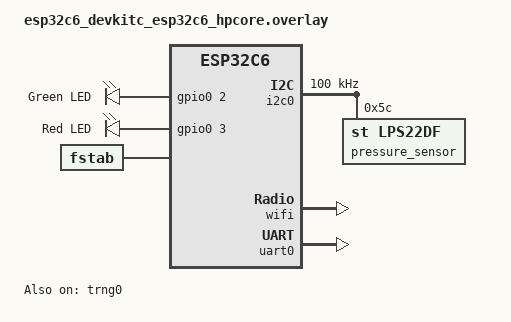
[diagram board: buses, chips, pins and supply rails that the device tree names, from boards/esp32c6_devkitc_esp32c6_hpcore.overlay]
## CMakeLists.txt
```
cmake_minimum_required(VERSION 3.20.0)

set(BOARD esp32c6_devkitc)

find_package(Zephyr REQUIRED HINTS $ENV{ZEPHYR_BASE})

project(rd_template)
target_sources(app PRIVATE src/main.c)
target_sources(app PRIVATE src/app_rpc.c)
target_sources(app PRIVATE src/app_settings.c)
target_sources(app PRIVATE src/app_state.c)
target_sources(app PRIVATE src/app_sensors.c)

add_custom_command(
  OUTPUT ${ZEPHYR_BINARY_DIR}/lfs.hex
  COMMAND
    ${PYTHON_EXECUTABLE} ${CMAKE_CURRENT_SOURCE_DIR}/generate-lfs-image.py
    --build-dir ${APPLICATION_BINARY_DIR})

add_custom_target(lfs ALL DEPENDS ${ZEPHYR_BINARY_DIR}/lfs.hex)
```

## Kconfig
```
# Copyright (c) 2022-2023 Golioth, Inc.
# SPDX-License-Identifier: MIT

mainmenu "Golioth application options"

if DNS_RESOLVER

config DNS_SERVER_IP_ADDRESSES
	default y

config DNS_SERVER1
	default "1.1.1.1"

endif # DNS_RESOLVER

source "Kconfig.zephyr"
```

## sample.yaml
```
# Copyright (c) 2022-2023 Golioth, Inc.
# SPDX-License-Identifier: MIT

sample:
  description: Golioth Reference Design Template
  name: rd_template
common:
  harness: net
  platform_allow: >
    nrf9160dk_nrf9160_ns
  tags: golioth
```

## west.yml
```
# Copyright (c) 2022-2023 Golioth, Inc.
# SPDX-License-Identifier: MIT

manifest:
  version: 1.0

  projects:
    - name: golioth
      path: modules/lib/golioth-firmware-sdk
      revision: v0.21.1
      url: https://github.com/golioth/golioth-firmware-sdk.git
      west-commands: scripts/west-commands.yml
      submodules: true
      import:
        file: west-zephyr.yml
        path-prefix: deps
        name-allowlist:
          - nrf
          - zephyr
          - cmsis_6
          - hal_nordic
          - hal_espressif
          - hal_st
          - mbedtls
          - mbedtls-nrf
          - mcuboot
          - net-tools
          - nrfxlib
          - oberon-psa-crypto
          - qcbor
          - segger
          - tfm-mcuboot
          - tinycrypt
          - trusted-firmware-m
          - zcbor
          - littlefs

    - name: zephyr-network-info
      path: deps/modules/lib/network-info
      revision: v1.2.1
      url: https://github.com/golioth/zephyr-network-info

  self:
    path: app
```

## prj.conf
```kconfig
# Copyright (c) 2022-2023 Golioth, Inc.
# SPDX-License-Identifier: MIT

# Enable Golioth Firmware SDK
CONFIG_GOLIOTH_FIRMWARE_SDK=y

# Golioth services used in this app
CONFIG_GOLIOTH_FW_UPDATE=y
CONFIG_GOLIOTH_LIGHTDB_STATE=y
CONFIG_LOG_BACKEND_GOLIOTH=y
CONFIG_GOLIOTH_RPC=y
CONFIG_GOLIOTH_SETTINGS=y
CONFIG_GOLIOTH_STREAM=y

# Enable common sample library
# CONFIG_GOLIOTH_SAMPLE_COMMON=y

# Enable the LittleFS file system
CONFIG_FILE_SYSTEM=y

# init before wifi credentials
CONFIG_FILE_SYSTEM_INIT_PRIORITY=89
CONFIG_FILE_SYSTEM_LITTLEFS=y
CONFIG_FILE_SYSTEM_SHELL=y
CONFIG_HEAP_MEM_POOL_SIZE=4096

# Add 256 bytes to accommodate upload command (lfs_stat overflows)
CONFIG_SYSTEM_WORKQUEUE_STACK_SIZE=2304

# Enable mcumgr
CONFIG_ZCBOR=y
CONFIG_MCUMGR=y
CONFIG_BOOTLOADER_MCUBOOT=y

# Enable console with mcumgr pass through
CONFIG_CONSOLE=y
CONFIG_UART_CONSOLE=y
CONFIG_UART_CONSOLE_MCUMGR=y

# Configure Golioth SDK dependencies
CONFIG_ZVFS_EVENTFD_MAX=14
CONFIG_ZVFS_OPEN_MAX=23
CONFIG_LOG_PROCESS_THREAD_STACK_SIZE=1536
CONFIG_MBEDTLS_ENABLE_HEAP=y
CONFIG_MBEDTLS_HEAP_SIZE=10240
CONFIG_NETWORKING=y
CONFIG_NET_IPV4=y
CONFIG_COAP_EXTENDED_OPTIONS_LEN=y
CONFIG_COAP_EXTENDED_OPTIONS_LEN_VALUE=39

# Enable the shell mcumgr transport. This allows SMP messages to pass
# through the shell to the mgmt subsystem.
CONFIG_SHELL=y
CONFIG_SHELL_BACKEND_SERIAL=y
CONFIG_BASE64=y
CONFIG_MCUMGR_TRANSPORT_SHELL=y

# Enable file system commands
CONFIG_MCUMGR_GRP_FS=y

# Enable shell commands over SMP
CONFIG_SHELL_BACKEND_DUMMY=y
CONFIG_MCUMGR_GRP_SHELL=y

# Some mgmt command handlers require a large stack.
CONFIG_MAIN_STACK_SIZE=2048

# Enable certificate authentication.
CONFIG_GOLIOTH_AUTH_METHOD_CERT=y

# Enable `log halt` and `log go` commands
CONFIG_LOG_CMDS=y

# If runtime-settings are enabled, use the file storage-backend
CONFIG_SETTINGS_FILE=y
CONFIG_SETTINGS_FILE_PATH="/lfs1/settings"

# Application
CONFIG_MAIN_STACK_SIZE=2048
CONFIG_NET_LOG=y
CONFIG_NET_SHELL=y
CONFIG_REBOOT=y
CONFIG_WIFI_CREDENTIALS=y
# CONFIG_WIFI_CREDENTIALS_BACKEND_PSA=y
CONFIG_WIFI_CREDENTIALS_MAX_ENTRIES=2

# Flash memory (etc.) for firmware upgrade
CONFIG_FLASH=y
CONFIG_FLASH_MAP=y
CONFIG_NVS=y
CONFIG_STREAM_FLASH=y
CONFIG_IMG_MANAGER=y
CONFIG_IMG_ERASE_PROGRESSIVELY=y
CONFIG_REBOOT=y

# The rest of the runtime credentials config
CONFIG_SETTINGS=y
CONFIG_SETTINGS_RUNTIME=y
# CONFIG_GOLIOTH_SAMPLE_SETTINGS_AUTOLOAD=y
# CONFIG_GOLIOTH_SAMPLE_SETTINGS_SHELL=y

# Misc.
CONFIG_JSON_LIBRARY=y

# Longer response length needed for network info
CONFIG_GOLIOTH_RPC_MAX_RESPONSE_LEN=512
CONFIG_GPIO=y
CONFIG_I2C=y
CONFIG_SENSOR=y

# Enable floating point support in printf
CONFIG_CBPRINTF_FP_SUPPORT=y

# ESP32C6-specific configurations
CONFIG_WIFI=y
CONFIG_HEAP_MEM_POOL_SIZE=49152
# CONFIG_ESP_HEAP_MEM_POOL_REGION_1_SIZE=32768

CONFIG_NET_L2_ETHERNET=y

CONFIG_NEWLIB_LIBC=y

CONFIG_NET_DHCPV4=y

# CONFIG_ESP32_WIFI_STA_AUTO_DHCPV4=y

CONFIG_NET_L2_WIFI_SHELL=y

# CONFIG_GOLIOTH_SAMPLE_WIFI=y

# https://github.com/zephyrproject-rtos/zephyr/issues/63823
# CONFIG_POSIX_FS=n
# CONFIG_ENTROPY_GENERATOR=y
```

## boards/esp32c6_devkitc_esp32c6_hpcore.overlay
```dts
/*
 * Copyright (c) 2025
 * SPDX-License-Identifier: MIT
 */
 
#include <espressif/esp32c6/esp32c6_wroom_n4.dtsi>
#include <espressif/partitions_0x0_default_4M.dtsi>


/ {
	aliases {
		led0 = &green_led;
		led1 = &red_led;
	};

	leds {
		compatible = "gpio-leds";
		green_led: led_0 {
			gpios = <&gpio0 2 GPIO_ACTIVE_HIGH>;
			label = "Green LED";
		};
		red_led: led_1 {
			gpios = <&gpio0 3 GPIO_ACTIVE_HIGH>;
			label = "Red LED";
		};
	};

	fstab {
		compatible = "zephyr,fstab";

		lfs1: lfs1 {
			compatible = "zephyr,fstab,littlefs";
			mount-point = "/lfs1";
			partition = <&storage_partition>;
			automount;
			read-size = <16>;
			prog-size = <16>;
			cache-size = <64>;
			lookahead-size = <32>;
			block-cycles = <512>;
		};
	};
};

// used this as a reference: https://docs.zephyrproject.org/latest/build/dts/api/bindings/pinctrl/espressif%2Cesp32-pinctrl.html
&pinctrl {
	i2c0_custom: i2c0_custom {
		group1 {
			pinmux = <I2C0_SDA_GPIO6>, // as defined here https://github.com/zephyrproject-rtos/zephyr/blob/main/include/zephyr/dt-bindings/pinctrl/esp32c6-pinctrl.h
				 <I2C0_SCL_GPIO7>;			
			drive-open-drain;
			output-enable;	
		};
	};
};

&i2c0 {
	status = "okay";
	pinctrl-0 = <&i2c0_custom>;	
	clock-frequency = <100000>; /* 100kHz */

	pressure_sensor: lps22df@5c {
		compatible = "st,lps22df";
		reg = <0x5c>;
		status = "okay";
	};
};

&wifi {
	status = "okay";
};

&uart0 {
	status = "okay";
};

&trng0 {
	status = "okay";
};
```

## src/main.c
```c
/*
 * Copyright (c) 2022-2023 Golioth, Inc.
 *
 * SPDX-License-Identifier: MIT
 */

#include <zephyr/logging/log.h>
LOG_MODULE_REGISTER(golioth_rd_template, LOG_LEVEL_DBG);

#include <stdio.h>
#include <app_version.h>
#include "app_rpc.h"
#include "app_settings.h"
#include "app_state.h"
#include "app_sensors.h"
#include <golioth/client.h>
#include <golioth/fw_update.h>
// #include <samples/common/net_connect.h>
// #include <samples/common/sample_credentials.h>
#include <zephyr/kernel.h>
#include <zephyr/drivers/gpio.h>
#include <zephyr/devicetree.h>
#include <zephyr/device.h>
#include <zephyr/fs/fs.h>


#define CRT_PATH "/lfs1/credentials/crt.der"
#define KEY_PATH "/lfs1/credentials/key.der"

/* The devicetree node identifiers for the LEDs */
#define LED0_NODE DT_ALIAS(led0)
#define LED1_NODE DT_ALIAS(led1)

/* Current firmware version; update in VERSION */
static const char *_current_version =
	STRINGIFY(APP_VERSION_MAJOR) "." STRINGIFY(APP_VERSION_MINOR) "." STRINGIFY(APP_PATCHLEVEL);

static const struct gpio_dt_spec green_led = GPIO_DT_SPEC_GET(LED0_NODE, gpios);
static const struct gpio_dt_spec red_led = GPIO_DT_SPEC_GET(LED1_NODE, gpios);


/* Get I2C bus device */
#define I2C_NODE DT_NODELABEL(i2c0)
static const struct device *i2c_dev = DEVICE_DT_GET(I2C_NODE);


static const uint8_t tls_ca_crt[] = {
#include "golioth-systemclient-ca_crt.inc"
};

static const uint8_t tls_secondary_ca_crt[] = {
#if CONFIG_GOLIOTH_SECONDARY_CA_CRT
#include "golioth-systemclient-secondary_ca_crt.inc"
#endif
};

static struct golioth_client *client;
K_SEM_DEFINE(connected, 0, 1);

static k_tid_t _system_thread = 0;

/* forward declarations */
void golioth_connection_led_set(uint8_t state);

void wake_system_thread(void)
{
	k_wakeup(_system_thread);
}

static void on_client_event(struct golioth_client *client, enum golioth_client_event event,
			    void *arg)
{
	bool is_connected = (event == GOLIOTH_CLIENT_EVENT_CONNECTED);

	if (is_connected) {
		k_sem_give(&connected);
		golioth_connection_led_set(1);
	}
	LOG_INF("Golioth client %s", is_connected ? "connected" : "disconnected");
}

static int load_credential_from_fs(const char *path, uint8_t **buf_p, size_t *buf_len)
{
    struct fs_file_t file;
    struct fs_dirent dirent;

    fs_file_t_init(&file);

    int err = fs_stat(path, &dirent);

    if (err < 0)
    {
        LOG_WRN("Could not stat %s, err: %d", path, err);
        goto finish;
    }
    if (dirent.type != FS_DIR_ENTRY_FILE)
    {
        LOG_ERR("%s is not a file", path);
        err = -EISDIR;
        goto finish;
    }
    if (dirent.size == 0)
    {
        LOG_ERR("%s is an empty file", path);
        err = -EINVAL;
        goto finish;
    }


    err = fs_open(&file, path, FS_O_READ);

    if (err < 0)
    {
        LOG_ERR("Could not open %s", path);
        goto finish;
    }

    /* NOTE: *buf_p is used directly by the TLS Credentials library, and so must remain
     * allocated for the life of the program.
     */

    free(*buf_p);
    *buf_p = malloc(dirent.size);

    if (*buf_p == NULL)
    {
        LOG_ERR("Could not allocate space to read credential");
        err = -ENOMEM;
        goto finish_with_file;
    }

    err = fs_read(&file, *buf_p, dirent.size);

    if (err < 0)
    {
        LOG_ERR("Could not read %s, err: %d", path, err);
        free(*buf_p);
        goto finish_with_file;
    }

    LOG_INF("Read %d bytes from %s", dirent.size, path);

    /* Set the size of the allocated buffer */
    *buf_len = dirent.size;

finish_with_file:
    fs_close(&file);

finish:
    return err;
}

static void start_golioth_client(const struct golioth_client_config *client_config)
{
	/* Get the client configuration from auto-loaded settings */
	// const struct golioth_client_config *client_config = golioth_sample_credentials_get();

	/* Create and start a Golioth Client */
	client = golioth_client_create(client_config);

	/* Register Golioth on_connect callback */
	golioth_client_register_event_callback(client, on_client_event, NULL);

	/* Initialize DFU components */
	golioth_fw_update_init(client, _current_version);

	/*** Call Golioth APIs for other services in dedicated app files ***/

	/* Observe State service data */
	app_state_observe(client);

	/* Set Golioth Client for streaming sensor data */
	app_sensors_set_client(client);

	/* Register Settings service */
	app_settings_register(client);

	/* Register RPC service */
	app_rpc_register(client);
}


void button_pressed(const struct device *dev, struct gpio_callback *cb, uint32_t pins)
{
	LOG_DBG("Button pressed at %d", k_cycle_get_32());
	/* This function is an Interrupt Service Routine. Do not call functions that
	 * use other threads, or perform long-running operations here
	 */
	k_wakeup(_system_thread);
}

/* Set (unset) LED indicators for active Golioth connection */
void golioth_connection_led_set(uint8_t state)
{
	uint8_t pin_state = state ? 1 : 0;
	ARG_UNUSED(pin_state); /* silence warning if no LED/Ostentus present */

	/* Turn on Golioth logo LED once connected */
	gpio_pin_set_dt(&green_led, pin_state);
}

int main(void)
{
	int ret;

	LOG_DBG("Start Reference Design Template sample");

	LOG_INF("Firmware version: %s", _current_version);

	/* Get system thread id so loop delay change event can wake main */
	_system_thread = k_current_get();

	ret = gpio_pin_configure_dt(&green_led, GPIO_OUTPUT_INACTIVE);
	if (ret < 0) {
		printk("Error: failed to configure green LED GPIO\n");
		return 0;
	}

	/* Run WiFi/DHCP if necessary */
	if (IS_ENABLED(CONFIG_GOLIOTH_SAMPLE_COMMON)) {
		net_connect();
	}

	uint8_t *tls_client_crt = NULL;
    uint8_t *tls_client_key = NULL;
    size_t tls_client_crt_len, tls_client_key_len;

	while (1)
    {
        int ret = load_credential_from_fs(CRT_PATH, &tls_client_crt, &tls_client_crt_len);
        if (ret > 0)
        {
            ret = load_credential_from_fs(KEY_PATH, &tls_client_key, &tls_client_key_len);
            if (ret > 0)
            {
                break;
            }
        }

        k_sleep(K_SECONDS(5));
    }

	if (tls_client_crt != NULL && tls_client_key != NULL)
    {
        struct golioth_client_config client_config = {
            .credentials =
                {
                    .auth_type = GOLIOTH_TLS_AUTH_TYPE_PKI,
                    .pki =
                        {
                            .ca_cert = tls_ca_crt,
                            .ca_cert_len = sizeof(tls_ca_crt),
                            .public_cert = tls_client_crt,
                            .public_cert_len = tls_client_crt_len,
                            .private_key = tls_client_key,
                            .private_key_len = tls_client_key_len,
                            .secondary_ca_cert = tls_secondary_ca_crt,
                            .secondary_ca_cert_len = sizeof(tls_secondary_ca_crt),
                        },
                },
        };

        /* Start Golioth client */
		start_golioth_client(&client_config);
    }
    else
    {
        LOG_ERR("Error reading certificate credentials from filesystem");
    }
	

	/* Block until connected to Golioth */
	k_sem_take(&connected, K_FOREVER);

	while (true) {
		app_sensors_read_and_stream();

		k_sleep(K_SECONDS(get_loop_delay_s()));
	}
}
```

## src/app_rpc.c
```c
/*
 * Copyright (c) 2022-2023 Golioth, Inc.
 *
 * SPDX-License-Identifier: MIT
 */

#include <zephyr/logging/log.h>
LOG_MODULE_REGISTER(app_rpc, LOG_LEVEL_DBG);

#include <golioth/client.h>
#include <golioth/rpc.h>
#include <zephyr/logging/log_ctrl.h>
#include <zephyr/sys/reboot.h>

#ifdef CONFIG_NETWORK_INFO
#include <network_info.h>
#endif

#include "app_rpc.h"

static void reboot_work_handler(struct k_work *work)
{
	for (int8_t i = 5; i >= 0; i--) {
		if (i) {
			LOG_INF("Rebooting in %d seconds...", i);
		}
		k_sleep(K_SECONDS(1));
	}

	/* Sync logs before reboot */
	LOG_PANIC();

	sys_reboot(SYS_REBOOT_COLD);
}
K_WORK_DEFINE(reboot_work, reboot_work_handler);

static enum golioth_rpc_status on_get_network_info(zcbor_state_t *request_params_array,
						   zcbor_state_t *response_detail_map,
						   void *callback_arg)
{
	COND_CODE_1(CONFIG_NETWORK_INFO,
		    (network_info_add_to_map(response_detail_map); return GOLIOTH_RPC_OK;),
		    (return GOLIOTH_RPC_UNIMPLEMENTED););
}

static enum golioth_rpc_status on_set_log_level(zcbor_state_t *request_params_array,
						zcbor_state_t *response_detail_map,
						void *callback_arg)
{
	double param_0;
	uint8_t log_level;
	bool ok;

	LOG_WRN("on_set_log_level");

	ok = zcbor_float_decode(request_params_array, &param_0);
	if (!ok) {
		LOG_ERR("Failed to decode array item");
		return GOLIOTH_RPC_INVALID_ARGUMENT;
	}

	log_level = (uint8_t)param_0;

	if ((log_level < 0) || (log_level > LOG_LEVEL_DBG)) {

		LOG_ERR("Requested log level is out of bounds: %d", log_level);
		return GOLIOTH_RPC_INVALID_ARGUMENT;
	}

	int source_id = 0;
	char *source_name;

	while (1) {
		source_name = (char *)log_source_name_get(0, source_id);
		if (source_name == NULL) {
			break;
		}

		log_filter_set(NULL, 0, source_id, log_level);
		++source_id;
	}

	LOG_WRN("Log levels for %d modules set to: %d", source_id, log_level);

	ok = zcbor_tstr_put_lit(response_detail_map, "log_modules") &&
	     zcbor_float64_put(response_detail_map, (double)source_id);

	return GOLIOTH_RPC_OK;
}

static enum golioth_rpc_status on_reboot(zcbor_state_t *request_params_array,
					 zcbor_state_t *response_detail_map, void *callback_arg)
{
	/* Use work queue so this RPC can return confirmation to Golioth */
	k_work_submit(&reboot_work);

	return GOLIOTH_RPC_OK;
}

static void rpc_log_if_register_failure(int err)
{
	if (err) {
		LOG_ERR("Failed to register RPC: %d", err);
	}
}

void app_rpc_register(struct golioth_client *client)
{
	struct golioth_rpc *rpc = golioth_rpc_init(client);

	int err;

	err = golioth_rpc_register(rpc, "get_network_info", on_get_network_info, NULL);
	rpc_log_if_register_failure(err);

	err = golioth_rpc_register(rpc, "reboot", on_reboot, NULL);
	rpc_log_if_register_failure(err);

	err = golioth_rpc_register(rpc, "set_log_level", on_set_log_level, NULL);
	rpc_log_if_register_failure(err);
}
```

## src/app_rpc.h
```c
/*
 * Copyright (c) 2022-2023 Golioth, Inc.
 *
 * SPDX-License-Identifier: MIT
 */

/**
 * Handle remote procedure calls received from Golioth, returning a status code
 * indicating the success or failure of the call.
 *
 * This demonstration implements the following RPCs:
 * - `get_network_info`: Query and return network information.
 * - `reboot`: reboot the device (no arguments)
 * - `set_log_level`: adjust the logging level for all registered modules (valid
 *   argument values: 0..4)
 *
 * https://docs.golioth.io/firmware/zephyr-device-sdk/remote-procedure-call
 */

#ifndef __APP_RPC_H__
#define __APP_RPC_H__

#include <golioth/client.h>

void app_rpc_register(struct golioth_client *client);

#endif /* __APP_RPC_H__ */
```

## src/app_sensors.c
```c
/*
 * Copyright (c) 2022-2023 Golioth, Inc.
 *
 * SPDX-License-Identifier: MIT
 */

#include <zephyr/logging/log.h>
LOG_MODULE_REGISTER(app_sensors, LOG_LEVEL_DBG);

#include <golioth/client.h>
#include <golioth/stream.h>
#include <zcbor_encode.h>
#include <zephyr/drivers/gpio.h>
#include <zephyr/drivers/sensor.h>
#include <zephyr/drivers/i2c.h>
#include <zephyr/kernel.h>

#include "app_sensors.h"

#ifdef CONFIG_LIB_OSTENTUS
#include <libostentus.h>
static const struct device *o_dev = DEVICE_DT_GET_ANY(golioth_ostentus);
#endif
#ifdef CONFIG_ALUDEL_BATTERY_MONITOR
#include <battery_monitor.h>
#endif

static struct golioth_client *client;

/* Add Sensor structs here */
struct sensor_value pressure, temp;
static unsigned int obs;

const struct device *pressure_sensor = DEVICE_DT_GET(DT_NODELABEL(pressure_sensor));

/* Callback for LightDB Stream */
static void async_error_handler(struct golioth_client *client, enum golioth_status status,
				const struct golioth_coap_rsp_code *coap_rsp_code, const char *path,
				void *arg)
{
	if (status != GOLIOTH_OK) {
		LOG_ERR("Async task failed: %d", status);
		return;
	}
}

/* This will be called by the main() loop */
/* Do all of your work here! */
void app_sensors_read_and_stream(void)
{
	int err;
	int ret;

	/* Send sensor data to Golioth */
	/* Fetch all sensor channels */
	ret = sensor_sample_fetch(pressure_sensor);
	if (ret < 0) {
		printf("Sensor sample update error: %d\n", ret);
		return;
	}

	/* Get pressure channel */
	ret = sensor_channel_get(pressure_sensor, SENSOR_CHAN_PRESS, &pressure);
	if (ret < 0) {
		printf("Cannot read pressure channel: %d\n", ret);
		return;
	}

	/* Get temperature channel */
	ret = sensor_channel_get(pressure_sensor, SENSOR_CHAN_AMBIENT_TEMP, &temp);
	if (ret < 0) {
		printf("Cannot read temperature channel: %d\n", ret);
		return;
	}

	/* Only stream sensor data if connected */
	if (golioth_client_is_connected(client)) {
		/* Encode sensor data using CBOR serialization */
		uint8_t cbor_buf[13];

		ZCBOR_STATE_E(zse, 1, cbor_buf, sizeof(cbor_buf), 1);

		bool ok = zcbor_map_start_encode(zse, 1) && zcbor_tstr_put_lit(zse, "counter") &&
			  zcbor_float16_put(zse, sensor_value_to_float(&pressure)) && zcbor_map_end_encode(zse, 1);

		if (!ok) {
			LOG_ERR("Failed to encode CBOR.");
			return;
		}

		size_t cbor_size = zse->payload - cbor_buf;

		LOG_DBG("Streaming observation: %d", obs);

		/* Stream data to Golioth */
		err = golioth_stream_set_async(client, "sensor", GOLIOTH_CONTENT_TYPE_CBOR,
					       cbor_buf, cbor_size, async_error_handler, NULL);
		if (err) {
			LOG_ERR("Failed to send sensor data to Golioth: %d", err);
		}
	} else {
		LOG_DBG("No connection available, skipping streaming observation: %d", obs);
	}

	/* Increment for the next run */
	++obs;
}

void app_sensors_set_client(struct golioth_client *sensors_client)
{
	client = sensors_client;
}
```

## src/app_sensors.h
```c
/*
 * Copyright (c) 2022-2023 Golioth, Inc.
 *
 * SPDX-License-Identifier: MIT
 */

#ifndef __APP_SENSORS_H__
#define __APP_SENSORS_H__

/** The `app_sensors.c` file performs the important work of this application
 * which is to read sensor values and report them to the Golioth LightDB Stream
 * as time-series data.
 *
 * For this demonstration, a `counter` value is periodically logged and pushed
 * to the Golioth time-series database. This simulated sensor reading occurs
 * when the loop in `main.c` calls `app_sensors_read_and_stream()`. The
 * frequency of this loop is determined by values received from the Golioth
 * Settings Service (see app_settings.h).
 *
 * https://docs.golioth.io/firmware/zephyr-device-sdk/light-db-stream/
 */

#include <golioth/client.h>

void app_sensors_set_client(struct golioth_client *sensors_client);
void app_sensors_read_and_stream(void);

#define LABEL_UP_COUNTER "Counter"
#define LABEL_DN_COUNTER "Anti-counter"
#define LABEL_BATTERY	 "Battery"
#define LABEL_FIRMWARE	 "Firmware"
#define SUMMARY_TITLE	 "Counters:"

/**
 * Each Ostentus slide needs a unique key. You may add additional slides by
 * inserting elements with the name of your choice to this enum.
 */
typedef enum {
	UP_COUNTER,
	DN_COUNTER,
#ifdef CONFIG_ALUDEL_BATTERY_MONITOR
	BATTERY_V,
	BATTERY_PCT,
#endif
	FIRMWARE
} slide_key;

#endif /* __APP_SENSORS_H__ */
```

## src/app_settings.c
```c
/*
 * Copyright (c) 2022-2023 Golioth, Inc.
 *
 * SPDX-License-Identifier: MIT
 */

#include <zephyr/logging/log.h>
LOG_MODULE_REGISTER(app_settings, LOG_LEVEL_DBG);

#include <golioth/client.h>
#include <golioth/settings.h>
#include "main.h"
#include "app_settings.h"

static int32_t _loop_delay_s = 60;
#define LOOP_DELAY_S_MAX 43200
#define LOOP_DELAY_S_MIN 1

int32_t get_loop_delay_s(void)
{
	return _loop_delay_s;
}

static enum golioth_settings_status on_loop_delay_setting(int32_t new_value, void *arg)
{
	_loop_delay_s = new_value;
	LOG_INF("Set loop delay to %i seconds", new_value);
	wake_system_thread();
	return GOLIOTH_SETTINGS_SUCCESS;
}

int app_settings_register(struct golioth_client *client)
{
	struct golioth_settings *settings = golioth_settings_init(client);

	int err = golioth_settings_register_int_with_range(settings,
							   "LOOP_DELAY_S",
							   LOOP_DELAY_S_MIN,
							   LOOP_DELAY_S_MAX,
							   on_loop_delay_setting,
							   NULL);

	if (err) {
		LOG_ERR("Failed to register settings callback: %d", err);
	}

	return err;
}
```

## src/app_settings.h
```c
/*
 * Copyright (c) 2022-2023 Golioth, Inc.
 *
 * SPDX-License-Identifier: MIT
 */

/**
 * Process changes received from the Golioth Settings Service and return a code
 * to Golioth to indicate the success or failure of the update.
 *
 * In this demonstration, the device looks for the `LOOP_DELAY_S` key from the
 * Settings Service and uses this value to determine the delay between sensor
 * reads (the period of sleep in the loop of `main.c`.
 *
 * https://docs.golioth.io/firmware/zephyr-device-sdk/device-settings-service
 */

#ifndef __APP_SETTINGS_H__
#define __APP_SETTINGS_H__

#include <stdint.h>
#include <golioth/client.h>

int32_t get_loop_delay_s(void);
int app_settings_register(struct golioth_client *client);

#endif /* __APP_SETTINGS_H__ */
```

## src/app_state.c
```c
/*
 * Copyright (c) 2022-2023 Golioth, Inc.
 *
 * SPDX-License-Identifier: MIT
 */

#include <zephyr/logging/log.h>
LOG_MODULE_REGISTER(app_state, LOG_LEVEL_DBG);

#include <golioth/client.h>
#include <golioth/lightdb_state.h>
#include <zephyr/data/json.h>
#include <zephyr/kernel.h>
#include "json_helper.h"

#include "app_state.h"
#include "app_sensors.h"

#define DEVICE_STATE_FMT "{\"example_int0\":%d,\"example_int1\":%d}"

uint32_t _example_int0;
uint32_t _example_int1 = 1;

static struct golioth_client *client;

static void async_handler(struct golioth_client *client,
			  enum golioth_status status,
			  const struct golioth_coap_rsp_code *coap_rsp_code,
			  const char *path,
			  void *arg)
{
	if (status != GOLIOTH_OK) {
		LOG_WRN("Failed to set state: %d", status);
		return;
	}

	LOG_DBG("State successfully set");
}

int app_state_reset_desired(void)
{
	LOG_INF("Resetting \"%s\" LightDB State endpoint to defaults.", APP_STATE_DESIRED_ENDP);

	char sbuf[sizeof(DEVICE_STATE_FMT) + 4]; /* space for two "-1" values */

	snprintk(sbuf, sizeof(sbuf), DEVICE_STATE_FMT, -1, -1);

	int err;
	err = golioth_lightdb_set_async(client,
					APP_STATE_DESIRED_ENDP,
					GOLIOTH_CONTENT_TYPE_JSON,
					sbuf,
					strlen(sbuf),
					async_handler,
					NULL);
	if (err) {
		LOG_ERR("Unable to write to LightDB State: %d", err);
	}
	return err;
}

int app_state_update_actual(void)
{

	char sbuf[sizeof(DEVICE_STATE_FMT) + 10]; /* space for uint16 values */

	snprintk(sbuf, sizeof(sbuf), DEVICE_STATE_FMT, _example_int0, _example_int1);

	int err;

	err = golioth_lightdb_set_async(client,
					APP_STATE_ACTUAL_ENDP,
					GOLIOTH_CONTENT_TYPE_JSON,
					sbuf,
					strlen(sbuf),
					async_handler,
					NULL);

	if (err) {
		LOG_ERR("Unable to write to LightDB State: %d", err);
	}
	return err;
}

static void app_state_desired_handler(struct golioth_client *client, enum golioth_status status,
				      const struct golioth_coap_rsp_code *coap_rsp_code,
				      const char *path, const uint8_t *payload, size_t payload_size,
				      void *arg)
{
	int err = 0;
	int ret;

	if (status != GOLIOTH_OK) {
		LOG_ERR("Failed to receive '%s' endpoint: %d", APP_STATE_DESIRED_ENDP, status);
		return;
	}

	LOG_HEXDUMP_DBG(payload, payload_size, APP_STATE_DESIRED_ENDP);

	struct app_state parsed_state;

	ret = json_obj_parse((char *)payload, payload_size, app_state_descr,
			     ARRAY_SIZE(app_state_descr), &parsed_state);

	if (ret < 0) {
		LOG_ERR("Error parsing desired values: %d", ret);
		app_state_reset_desired();
		return;
	}

	uint8_t desired_processed_count = 0;
	uint8_t state_change_count = 0;

	if (ret & 1 << 0) {
		/* Process example_int0 */
		if ((parsed_state.example_int0 >= 0) && (parsed_state.example_int0 < 65536)) {
			LOG_DBG("Validated desired example_int0 value: %d",
				parsed_state.example_int0);
			if (_example_int0 != parsed_state.example_int0) {
				_example_int0 = parsed_state.example_int0;
				++state_change_count;
			}
			++desired_processed_count;
		} else if (parsed_state.example_int0 == -1) {
			LOG_DBG("No change requested for example_int0");
		} else {
			LOG_ERR("Invalid desired example_int0 value: %d",
				parsed_state.example_int0);
			++desired_processed_count;
		}
	}
	if (ret & 1 << 1) {
		/* Process example_int1 */
		if ((parsed_state.example_int1 >= 0) && (parsed_state.example_int1 < 65536)) {
			LOG_DBG("Validated desired example_int1 value: %d",
				parsed_state.example_int1);
			if (_example_int1 != parsed_state.example_int1) {
				_example_int1 = parsed_state.example_int1;
				++state_change_count;
			}
			++desired_processed_count;
		} else if (parsed_state.example_int1 == -1) {
			LOG_DBG("No change requested for example_int1");
		} else {
			LOG_ERR("Invalid desired example_int1 value: %d",
				parsed_state.example_int1);
			++desired_processed_count;
		}
	}

	if (state_change_count) {
		/* The state was changed, so update the state on the Golioth servers */
		err = app_state_update_actual();
	}
	if (desired_processed_count) {
		/* We processed some desired changes to return these to -1 on the server
		 * to indicate the desired values were received.
		 */
		err = app_state_reset_desired();
	}

	if (err) {
		LOG_ERR("Failed to update cloud state: %d", err);
	}
}

int app_state_observe(struct golioth_client *state_client)
{
	int err;

	client = state_client;

	err = golioth_lightdb_observe_async(client,
					    APP_STATE_DESIRED_ENDP,
					    GOLIOTH_CONTENT_TYPE_JSON,
					    app_state_desired_handler,
					    NULL);
	if (err) {
		LOG_WRN("failed to observe lightdb path: %d", err);
		return err;
	}

	/* This will only run once. It updates the actual state of the device
	 * with the Golioth servers. Future updates will be sent whenever
	 * changes occur.
	 */
	err = app_state_update_actual();

	return err;
}
```

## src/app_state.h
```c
/*
 * Copyright (c) 2022-2023 Golioth, Inc.
 *
 * SPDX-License-Identifier: MIT
 */

/** Observe and write to example endpoints for stateful data on the Golioth
 * LightDB State Service.
 *
 * This demonstration exhibits (the concept of Digital
 * Twin)[https://blog.golioth.io/better-iot-design-patterns-desired-state-vs-actual-state/].
 * It implements a _desired_ state which the cloud can set to request the device
 * change its state, and an _actual_ state where the device reports its state.
 *
 * After receiving and processing a desired state, the device will reset the
 * desired state (`APP_STATE_DESIRED_ENDP`) to `-1` indicating the data has been
 * processed, and update the actual state (`APP_STATE_ACTUAL_ENDP`) to report
 * the new state of the device.
 *
 * The device should write to the _actual state_ endpoint, the cloud should not.
 * By convention the cloud should consider the _actual state_ values read-only.
 *
 * https://docs.golioth.io/firmware/zephyr-device-sdk/light-db/
 */

#ifndef __APP_STATE_H__
#define __APP_STATE_H__

#include <golioth/client.h>

#define APP_STATE_DESIRED_ENDP "desired"
#define APP_STATE_ACTUAL_ENDP  "state"

int app_state_observe(struct golioth_client *state_client);
int app_state_update_actual(void);

#endif /* __APP_STATE_H__ */
```

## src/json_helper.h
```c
/*
 * Copyright (c) 2023 Golioth, Inc.
 *
 * SPDX-License-Identifier: MIT
 */

#ifndef __JSON_HELPER_H_
#define __JSON_HELPER_H_

#include <zephyr/data/json.h>

struct app_state {
	int32_t example_int0;
	int32_t example_int1;
};

static const struct json_obj_descr app_state_descr[] = {
	JSON_OBJ_DESCR_PRIM(struct app_state, example_int0, JSON_TOK_NUMBER),
	JSON_OBJ_DESCR_PRIM(struct app_state, example_int1, JSON_TOK_NUMBER)};

#endif
```

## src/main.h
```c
/*
 * Copyright (c) 2023 Golioth, Inc.
 *
 * SPDX-License-Identifier: MIT
 */

void wake_system_thread(void);
```
